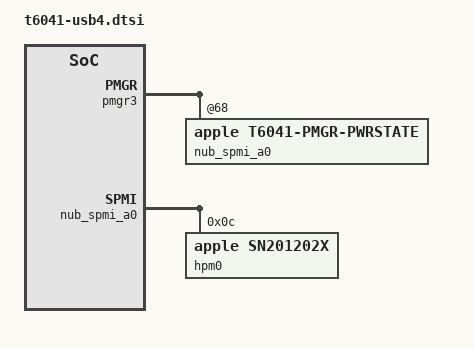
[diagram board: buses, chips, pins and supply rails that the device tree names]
// SPDX-License-Identifier: GPL-2.0+ OR MIT
/* EXPERIMENTAL: J616c left-rear port (ATC0), native ADT resources.
 * Keep HPM1/ATC1 unbound: it carries the development USB transport.
 */
#include <dt-bindings/spmi/spmi.h>

&pmgr3 {
	ps_nub_spmi_a0: power-controller@68 {
		compatible = "apple,t6041-pmgr-pwrstate", "apple,t8103-pmgr-pwrstate";
		reg = <0x68 4>;
		#power-domain-cells = <0>;
		#reset-cells = <0>;
		label = "nub_spmi_a0";
		apple,always-on;
	};
};

&{/soc} {
	nub_spmi_a0: spmi@509188000 {
		compatible = "apple,t6041-spmi", "apple,t8103-spmi";
		reg = <5 0x09188000 0 0x4000>;
		#address-cells = <2>;
		#size-cells = <0>;
		#interrupt-cells = <2>;
		interrupt-controller;
		interrupt-parent = <&aic>;
		/* ADT IRQ256 is local notify; IRQ866 is its AIC aggregate. */
		interrupts = <AIC_IRQ 866 IRQ_TYPE_LEVEL_HIGH>;
		power-domains = <&ps_nub_spmi_a0>;

		hpm0: usb-pd@c {
			compatible = "apple,sn201202x";
			reg = <0xc SPMI_USID>;
			interrupts = <11 IRQ_TYPE_EDGE_RISING>,
				     <13 IRQ_TYPE_EDGE_RISING>,
				     <17 IRQ_TYPE_EDGE_RISING>,
				     <19 IRQ_TYPE_EDGE_RISING>;
			interrupt-names = "irq", "select", "sleep", "wake";

			typec0: connector {
				label = "USB-C Left-back";
				compatible = "usb-c-connector";
				power-role = "dual";
				data-role = "dual";
				try-power-role = "sink";
			};
		};
	};
};
